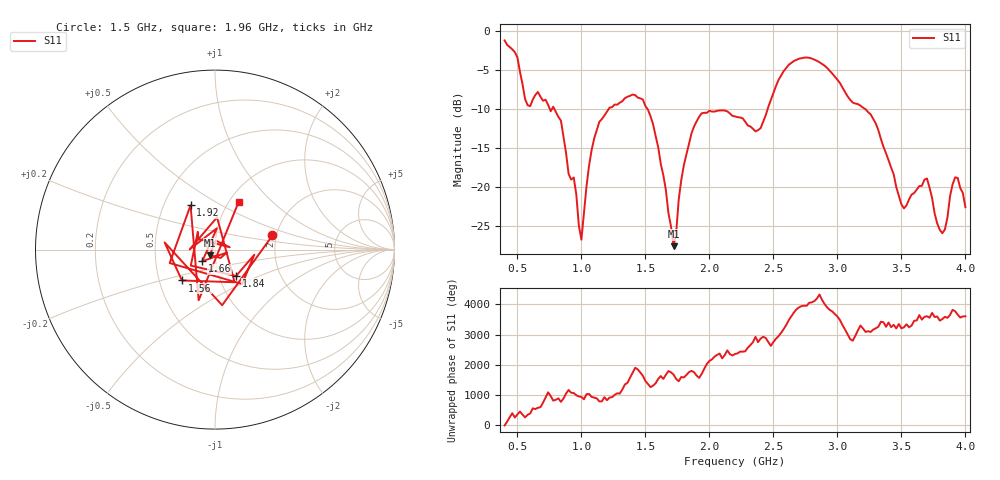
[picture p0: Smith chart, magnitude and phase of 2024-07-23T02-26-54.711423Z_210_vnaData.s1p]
!Created with skrf (http://scikit-rf.org).
# Hz S RI R 50.0
!freq ReS11 ImS11
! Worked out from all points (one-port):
!   181 points, 400 MHz to 4 GHz, reference 50 ohm
!   lowest |S11| = -27.5 dB at 1.72 GHz (marker M1), VSWR 1.09, Z = 47.1 - j2.9 ohm
!   |S11| at or under -10 dB: 788.6 MHz to 1.214 GHz (425.2 MHz wide, 42.5 % of centre); 1.516 GHz to 2.455 GHz (939.9 MHz wide, 47.3 % of centre); 3.216 GHz to end of sweep (the widest 3 of 4)
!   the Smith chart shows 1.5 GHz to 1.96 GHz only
!   S11 on the Smith chart (normalised r, x): 1.5 GHz: 1.90, +0.34; 1.56 GHz: 0.65, -0.24; 1.66 GHz: 0.86, -0.11; 1.84 GHz: 1.20, -0.37; 1.92 GHz: 0.68, +0.36; 1.96 GHz: 1.11, +0.65
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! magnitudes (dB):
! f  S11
! 400 MHz  -1.3
! 500 MHz  -3.4
! 580 MHz  -9.5
! 660 MHz  -7.8
! 860 MHz  -13.6
! 940 MHz  -18.8
! 1 GHz  -26.7
! 1.1 GHz  -13.8
! 1.3 GHz  -9.2
! 1.5 GHz  -9.6
! 1.56 GHz  -12.0
! 1.66 GHz  -20.4
! 1.72 GHz  -27.5
! 1.76 GHz  -21.6
! 1.84 GHz  -14.5
! 1.92 GHz  -11.0
! 1.96 GHz  -10.5
! 2.2 GHz  -11.0
! 2.4 GHz  -12.5
! 2.66 GHz  -3.9
! 3.1 GHz  -8.8
! 3.26 GHz  -10.7
! 3.5 GHz  -22.2
! 3.56 GHz  -21.5
! 3.7 GHz  -18.9
! 3.82 GHz  -25.9
! 3.92 GHz  -18.7
! 4 GHz  -22.5
